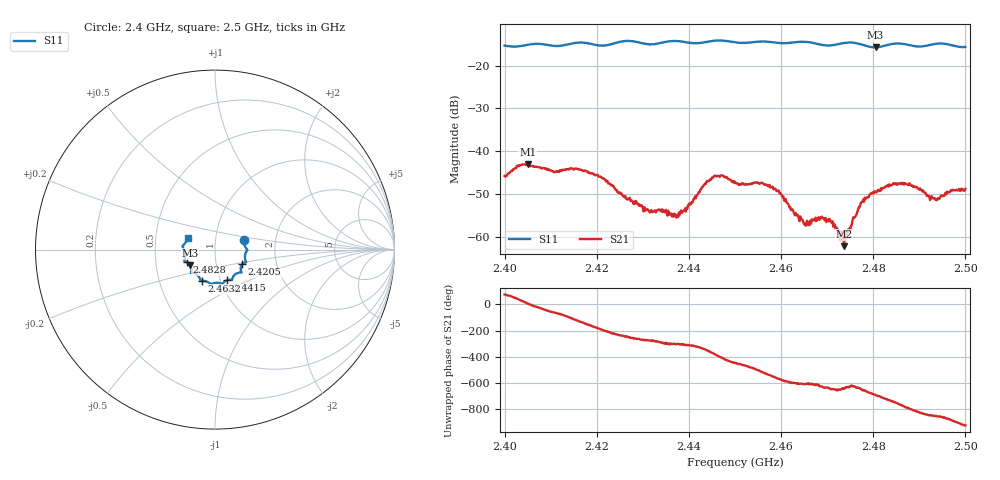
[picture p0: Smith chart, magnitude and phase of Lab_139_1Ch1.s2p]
# Hz S RI R 50
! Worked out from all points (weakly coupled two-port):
!   601 points, 2.4 GHz to 2.5 GHz, reference 50 ohm
!   highest |S21| = -43.07 dB at 2.405 GHz (marker M1); lowest = -62.2 dB at 2.4737 GHz (marker M2)
!   lowest |S11| = -15.7 dB at 2.4805 GHz (marker M3), VSWR 1.39, Z = 37.3 - j6.7 ohm
!   |S11| at or under -10 dB: start of sweep to end of sweep
!   S12 and S22 are empty: the file has one direction only
!   S11 on the Smith chart (normalised r, x): 2.4 GHz: 1.38, +0.15; 2.4205 GHz: 1.34, -0.22; 2.4415 GHz: 1.07, -0.38; 2.4632 GHz: 0.82, -0.29; 2.4828 GHz: 0.72, -0.10; 2.5 GHz: 0.73, +0.10
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2.4e9  0.1637 0.0516  0.00143 0.00492  0 0  0 0
2.405e9  0.1757 0.00433  0.00699 0.000646  0 0  0 0
2.416667e9  0.173 -0.0699  -0.00434 -0.00423  0 0  0 0
2.4205e9  0.1519 -0.0815  -0.00501 0.000454  0 0  0 0
2.4305e9  0.1231 -0.1315  7.14e-05 0.002  0 0  0 0
2.433333e9  0.1 -0.1518  0.000519 0.00199  0 0  0 0
2.4375e9  0.0953 -0.1691  0.000924 0.00155  0 0  0 0
2.4415e9  0.0658 -0.1708  0.00223 0.00171  0 0  0 0
2.4455e9  0.042 -0.1915  0.00489 -0.00161  0 0  0 0
2.45e9  0.0243 -0.1863  0.00025 -0.00422  0 0  0 0
2.457667e9  -0.0297 -0.1869  -0.00377 7.28e-05  0 0  0 0
2.463167e9  -0.0732 -0.1737  -0.000888 0.00167  0 0  0 0
2.466667e9  -0.082 -0.167  -0.000715 0.00142  0 0  0 0
2.470667e9  -0.1052 -0.137  0.000328 0.00151  0 0  0 0
2.473667e9  -0.1305 -0.1302  0.000193 0.000749  0 0  0 0
2.477667e9  -0.131 -0.1172  0.00107 0.00232  0 0  0 0
2.4805e9  -0.1388 -0.0874  0.00292 0.00157  0 0  0 0
2.482833e9  -0.1585 -0.0702  0.00392 -0.000222  0 0  0 0
2.483333e9  -0.1624 -0.0684  0.00379 -0.000641  0 0  0 0
2.4875e9  -0.1678 -0.0515  0.00152 -0.00373  0 0  0 0
2.493333e9  -0.179 0.0115  -0.0018 -0.00217  0 0  0 0
2.5e9  -0.1529 0.0645  -0.00335 0.00137  0 0  0 0
